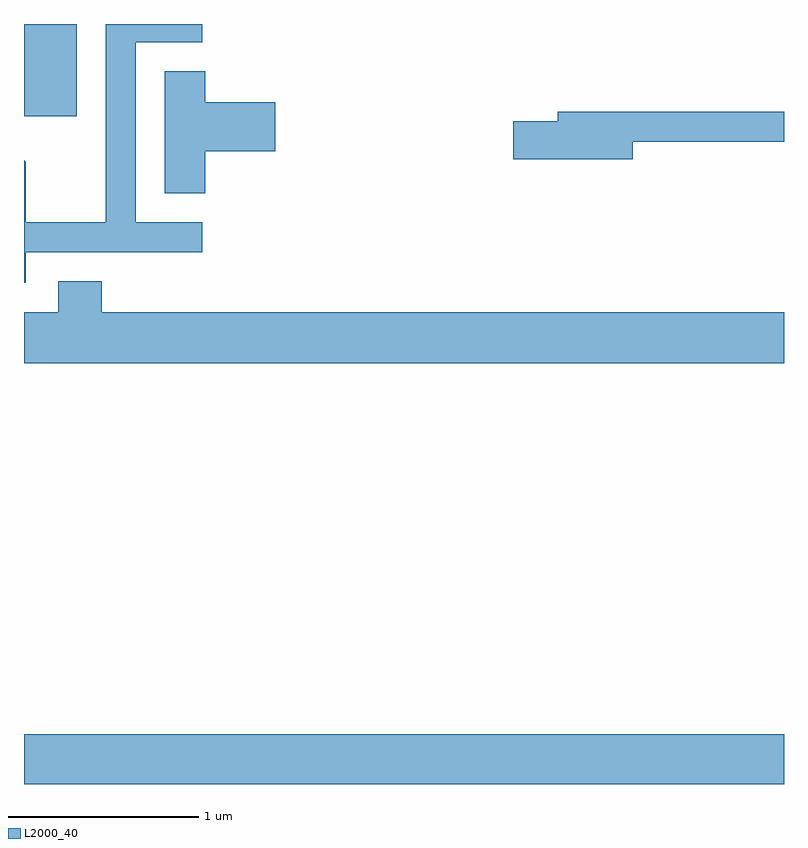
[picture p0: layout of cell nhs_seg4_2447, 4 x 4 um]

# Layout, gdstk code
import gdstk
lib = gdstk.Library(unit=1e-6, precision=1e-09)
def R(c, l, rs):  # rectangles x0, y0, x1, y1
    for r in rs: c.add(gdstk.rectangle(r[:2], r[2:], *l))
def P(c, l, *ps):  # polygons
    for p in ps: c.add(gdstk.Polygon(p, *l))
L2000_40 = (2000, 40)

nhs_seg4_2447 = lib.new_cell('nhs_seg4_2447')
R(nhs_seg4_2447, L2000_40, [(255.611,1387.982,259.611,1388.244), (255.611,1391.496,255.889,1391.982)])
P(nhs_seg4_2447, L2000_40, [(255.619,1390.781),(256.548,1390.781),(256.548,1390.939),(256.199,1390.939),(256.199,1391.886),(256.548,1391.886),(256.548,1391.982),(256.041,1391.982),(256.041,1390.939),(255.619,1390.939),(255.619,1391.257),(255.611,1391.265),(255.611,1390.621),(255.619,1390.621)],
  [(256.564,1391.311),(256.934,1391.311),(256.934,1391.569),(256.564,1391.569),(256.564,1391.734),(256.351,1391.734),(256.351,1391.091),(256.564,1391.091)],
  [(258.814,1391.361),(259.611,1391.361),(259.611,1391.519),(258.421,1391.519),(258.421,1391.469),(258.186,1391.469),(258.186,1391.271),(258.814,1391.271)],
  [(259.611,1390.464),(256.019,1390.464),(256.019,1390.629),(255.791,1390.629),(255.791,1390.464),(255.611,1390.464),(255.611,1390.196),(259.611,1390.196)])

lib.write_gds('nhs_seg4_2447.gds')
